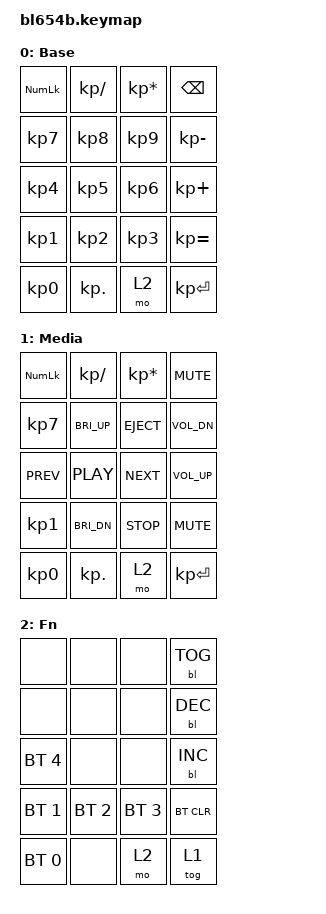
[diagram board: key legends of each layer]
/*
 * Copyright (c) 2021 Nick Winans
 *
 * SPDX-License-Identifier: MIT
 */

#include <behaviors.dtsi>
#include <dt-bindings/zmk/keys.h>
//#include <dt-bindings/zmk/rgb.h>
#include <dt-bindings/zmk/bt.h>
#include <dt-bindings/zmk/outputs.h>
#include <dt-bindings/zmk/backlight.h>

/ {
	keymap {
		compatible = "zmk,keymap";
		
		default_layer {
// ------------------------------------
// | NumLck |   /   |   *   |   BS   | 
// |    7   |   8   |   9   |    -   |
// |    4   |   5   |   6   |    +   |
// |    1   |   2   |   3   |    =   |
// |    0   |   .   | MO(1) |   ENT  |
// ------------------------------------
			display-name = "Base";
			bindings = <
	&kp KP_NLCK  &kp KP_DIVIDE  &kp KP_MULTIPLY  &kp BSPC 
	&kp KP_N7  &kp KP_N8  &kp KP_N9  &kp KP_MINUS 
	&kp KP_N4  &kp KP_N5  &kp KP_N6  &kp KP_PLUS 
	&kp KP_N1  &kp KP_N2  &kp KP_N3  &kp KP_EQUAL 
	&kp KP_N0 &kp KP_DOT  &mo 2  &kp KP_ENTER
			>;
		};

		media_layer {
// ------------------------------------
// | NumLck | 	 /  | 	 *  | 	Mute	| 
// |    7   |In Bri	|Eject	|Volume Down|
// |Previous|Play/PS| Next	|Volume Up	|
// |    1   |De Bri	|  Stop | 	  =		|
// |    0   |   .   | MO(1) |   ENT 	|
// ------------------------------------
			display-name = "Media";
			bindings = <
	&kp KP_NLCK  &kp KP_DIVIDE  &kp KP_MULTIPLY  &kp C_MUTE 
	&kp KP_N7  &kp C_BRI_UP  &kp C_EJECT  &kp C_VOL_DN 
	&kp C_PREV &kp C_PLAY  &kp C_NEXT  &kp C_VOL_UP 
	&kp KP_N1  &kp C_BRI_DN  &kp C_STOP  &kp C_MUTE 
	&kp KP_N0 &kp KP_DOT  &mo 2  &kp KP_ENTER
				>;
			};

		func_layer {
// --------------------------------------
// |        |        |        |        | 
// |        |        |        |        | 
// |  BT 4  |        |        |        | 
// |  BT 1  |  BT 2  |  BT 3  | BT CLR | 
// |  BT 0  |        |        |        |
// --------------------------------------
			display-name = "Fn";
			bindings = <
	&none 			&none 			&none 	&bl BL_TOG
	&none 			&none 			&none	&bl BL_DEC
	&bt BT_SEL 4 	&none 			&none	&bl BL_INC
	&bt BT_SEL 1 	&bt BT_SEL 2 	&bt BT_SEL 3 		&bt BT_CLR
	&bt BT_SEL 0  	&none 			&mo 2				&tog 1
			>;
		};
	};

	behaviors {
        tog_on: toggle_layer_on_only {
            compatible = "zmk,behavior-toggle-layer";
            #binding-cells = <1>;
            display-name = "Toggle Layer On";
            toggle-mode = "on";
        };

		tog_off: toggle_layer_off_only {
            compatible = "zmk,behavior-toggle-layer";
            #binding-cells = <1>;
            display-name = "Toggle Layer Off";
            toggle-mode = "off";
        };
    };
};
